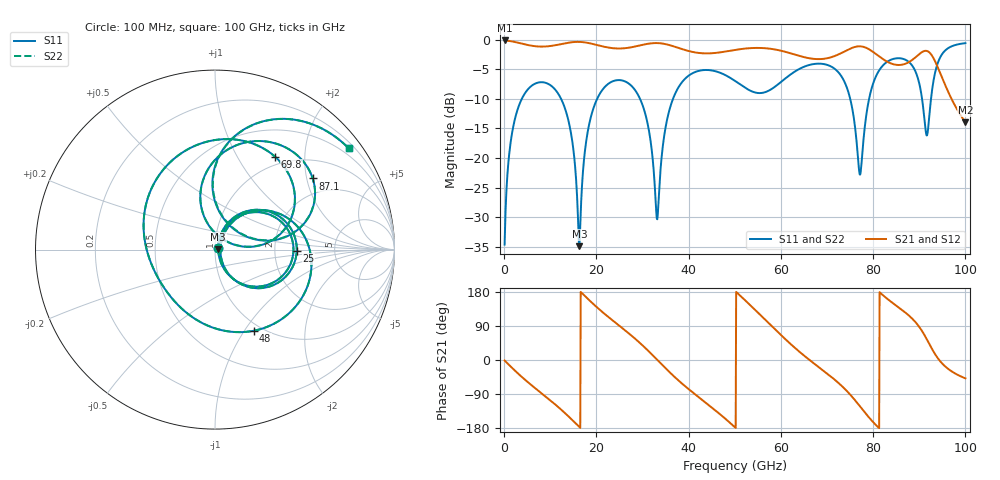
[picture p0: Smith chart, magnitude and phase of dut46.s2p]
! Touchstone file exported from HFSS 2026.1.0
!  File:  C:/ffzhzh/LocalFiles/Ansys_Project_Files/temp_train_TSV_RDL_46_1783620564_26216.aedt
!  Generated:  02:17:07 AM Jul 10, 2026
!  Design:  TSV_RDL
!  Project:  temp_train_TSV_RDL_46_1783620564_26216
! Variables:
!  h_bsmrdl = 3.08um
!  h_ox = 20um
!  h_rdl = 5um
!  h_sub = 85.61um
!  h_tmrdl = 4.7um
!  h_tsv = 85.61um
!  h_via = 3um
!  l_bsmrdl = 555.66um
!  l_sub = 3453.71um
!  l_tmrdl = 314.65um
!  m_sub = 200um
!  pitch = 46.41um
!  r_tsv = 12.66um
!  s_tmrdl = 10um
!  w_bsmrdl = 19.28um
!  w_sub = 500um
!  w_tmrdl = 23.43um
!  x_tsv_center1 = 326.365um
!  x_tsv_center2 = 901.305um
!  x_tsv_center3 = 1239.385um
!  x_tsv_center4 = 1814.325um
!  x_tsv_center5 = 2152.405um
!  x_tsv_center6 = 2727.345um
# GHz S MA R 50.000000
! Terminal data exported
! Port[1] = TM_RDL1_1_T1
! Port[2] = TM_RDL5_1_T1
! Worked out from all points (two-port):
!   1000 points, 100 MHz to 100 GHz, reference 50 ohm
!   highest |S21| = -0.13 dB at 100 MHz (marker M1); lowest = -13.9 dB at 100 GHz (marker M2)
!   |S21| within 3 dB of the highest: start of sweep to 66.1 GHz; 70.08 GHz to 81.83 GHz (11.75 GHz wide, 15.5 % of centre) (the widest 2 of 3)
!   lowest |S11| = -34.9 dB at 16.3 GHz (marker M3), VSWR 1.04, Z = 51.8 + j0.213 ohm
!   |S11| at or under -10 dB: 12.34 GHz to 20.16 GHz (7.82 GHz wide, 48.1 % of centre); 29.46 GHz to 36.61 GHz (7.151 GHz wide, 21.6 % of centre); 75.03 GHz to 79.12 GHz (4.094 GHz wide, 5.31 % of centre) (the widest 3 of 5)
!   |S22| runs from -34.8 to -0.6 dB; largest |S21 - S12| = 6.7e-14
!   S11 on the Smith chart (normalised r, x): 100 MHz: 1.03, +0.02; 25 GHz: 2.67, -0.05; 48 GHz: 0.91, -1.10; 69.8 GHz: 0.88, +1.46; 87.1 GHz: 1.50, +2.17; 100 GHz: 0.33, +2.94
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0.1  0.01853 34.5  0.9849 -1.3  0.9849 -1.3  0.01853 34.5
! Gamma 0 0 0 0
! Port Impedance 50 0 50 0
2.4  0.2185 55.7  0.9546 -28.7  0.9546 -28.7  0.2185 55.7
7.8  0.4367 2.9  0.8746 -84.8  0.8746 -84.8  0.4367 2.9
13.5  0.2403 -52.2  0.9365 -143.6  0.9365 -143.6  0.2402 -52.1
16.3  0.01798 6.5  0.9576 -176.7  0.9576 -176.7  0.01828 6.6
16.8  0.05135 65.0  0.9552 177.3  0.9552 177.3  0.05148 64.7
19.3  0.2592 53.1  0.9184 148.1  0.9184 148.1  0.2593 53.0
25  0.4554 -1.0  0.8423 90.1  0.8423 90.1  0.4554 -1.0
30.2  0.2661 -49.9  0.9081 36.4  0.9081 36.4  0.2661 -49.9
33.4  0.03837 34.6  0.9353 -2.2  0.9353 -2.2  0.03834 34.7
37.5  0.3776 34.6  0.8588 -50.8  0.8588 -50.8  0.3776 34.6
48  0.5008 -64.6  0.794 -155.4  0.794 -155.4  0.5007 -64.6
50.1  0.4469 -86.7  0.8194 -178.1  0.8194 -178.1  0.4468 -86.7
57.7  0.3769 -177.7  0.8383 93.0  0.8383 93.0  0.3768 -177.6
66.7  0.6185 84.5  0.6914 -4.7  0.6914 -4.7  0.6184 84.6
69.8  0.6161 57.0  0.6938 -33.7  0.6938 -33.7  0.616 57.1
77.1  0.07248 50.5  0.8791 -121.5  0.8791 -121.5  0.07358 50.9
83.4  0.6633 65.4  0.6411 158.2  0.6411 158.2  0.6636 65.5
87.1  0.6736 36.1  0.628 124.0  0.628 124.0  0.6739 36.2
91.6  0.1549 47.3  0.8037 55.4  0.8037 55.4  0.1575 47.4
92.8  0.3805 92.2  0.7291 28.3  0.7291 28.3  0.3815 91.8
100  0.9346 37.2  0.2007 -48.5  0.2007 -48.5  0.9347 37.1
